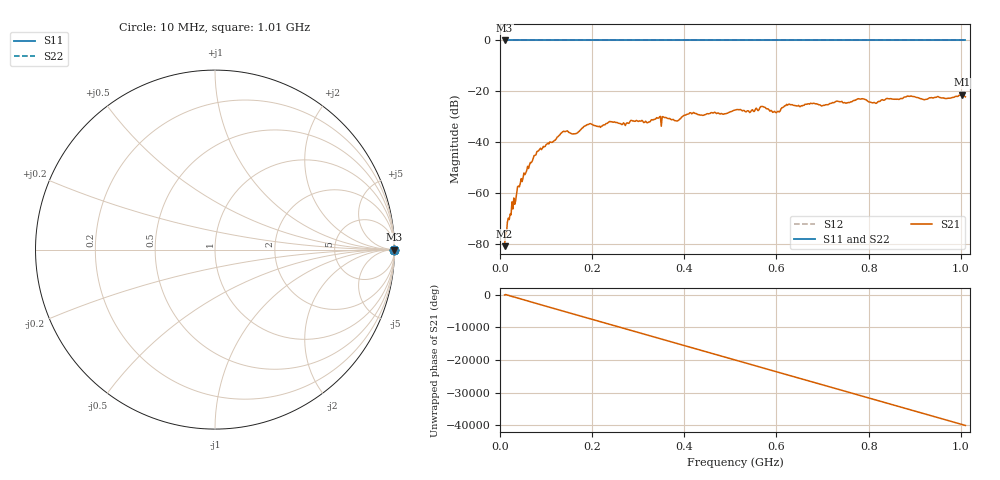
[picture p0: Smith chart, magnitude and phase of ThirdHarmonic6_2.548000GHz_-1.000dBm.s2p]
! 8/17/2025 5:11:32 AM
! C:\ANRITSUVNA\TEMP\TEMP.S2P
! CHANNEL.1
! TR.MEASUREMENT
! RAW.DATA
! RF.CORRECTION.OFF
! AVERAGING.OFF
! IF.BANDWIDTH: 5KHZ
! SWEEPTYPE:  FREQ.SWEEP(Linear)
! Reference Plane Port Info
! PORT:  PORT1  PORT2
! DISTANCE:  0  m  0  m
! TIME:  0  s  0  s
! PHASE.OFFSET:  0  deg.  0  deg.
! LOSS:  0  dB  0  dB
! REF.LOSS:  0  dB  0  dB
! REF.FREQ:  0  Hz  0  Hz
! Power Info
! POWER:  -20  dBm  -20  dBm
! EFF.POWER:  -20  dBm  -20  dBm
! SOURCE.ATTEN:  0  dB  0  dB
! TEST.ATTEN:  0  dB  0  dB
# GHZ S RI R 50.0
! FREQ.GHZ  S11RE  S11IM  S21RE  S21IM  S12RE  S12IM  S22RE  S22IM
!; PortSelection: Port_12
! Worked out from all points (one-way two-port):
!   501 points, 10 MHz to 1.01 GHz, reference 50 ohm
!   highest |S21| = -21.36 dB at 1.002 GHz (marker M1); lowest = -80.9 dB at 10 MHz (marker M2)
!   lowest |S11| = 0.0 dB at 10 MHz (marker M3)
!   |S11| at or under -10 dB: nowhere
!   |S22| runs from 0.0 to 0.0 dB; largest |S21 - S12| = 1.1
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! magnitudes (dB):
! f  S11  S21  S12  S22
! 10 MHz  0.0  -80.9  0.0  0.0
! 22 MHz  0.0  -68.3  0.0  0.0
! 42 MHz  0.0  -57.6  0.0  0.0
! 78 MHz  0.0  -45.0  0.0  0.0
! 136 MHz  0.0  -35.9  0.0  0.0
! 162 MHz  0.0  -36.7  0.0  0.0
! 178 MHz  0.0  -34.5  0.0  0.0
! 240 MHz  0.0  -31.9  0.0  0.0
! 322 MHz  0.0  -32.1  0.0  0.0
! 344 MHz  0.0  -30.6  0.0  0.0
! 384 MHz  0.0  -31.7  0.0  0.0
! 416 MHz  0.0  -28.8  0.0  0.0
! 510 MHz  0.0  -27.4  0.0  0.0
! 570 MHz  0.0  -26.0  0.0  0.0
! 602 MHz  0.0  -27.9  0.0  0.0
! 624 MHz  0.0  -25.4  0.0  0.0
! 678 MHz  0.0  -24.8  0.0  0.0
! 782 MHz  0.0  -23.1  0.0  0.0
! 814 MHz  0.0  -24.6  0.0  0.0
! 844 MHz  0.0  -23.0  0.0  0.0
! 1.002 GHz  0.0  -21.4  0.0  0.0
! 1.01 GHz  0.0  -22.2  0.0  0.0
